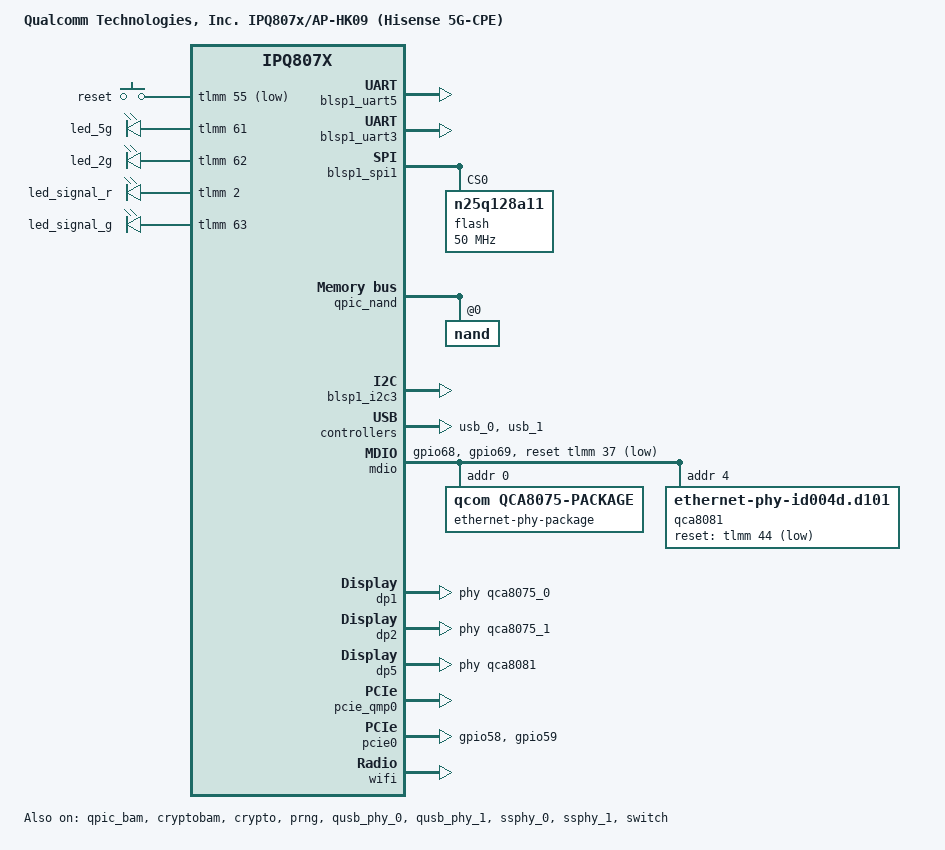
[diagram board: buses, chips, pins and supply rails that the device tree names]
// SPDX-License-Identifier: GPL-2.0-or-later OR MIT

/dts-v1/;

#include "ipq8074.dtsi"
#include "ipq8074-ess.dtsi"
#include "ipq8074-nss.dtsi"
#include "ipq8074-hk-cpu.dtsi"

#include <dt-bindings/gpio/gpio.h>
#include <dt-bindings/input/input.h>
#include <dt-bindings/leds/common.h>

/ {
	model = "Qualcomm Technologies, Inc. IPQ807x/AP-HK09 (Hisense 5G-CPE)";
	compatible = "hisense,5g-cpe", "qcom,ipq807x";

	aliases {
		serial0 = &blsp1_uart5;
		serial1 = &blsp1_uart3;
		led-boot = &led_signal_r;
		led-failsafe = &led_signal_r;
		led-running = &led_signal_g;
		led-upgrade = &led_signal_r;
		ethernet0 = &dp3;
		ethernet1 = &dp4;
		ethernet2 = &dp5;
	};

	chosen {
		stdout-path = "serial0:115200n8";
		bootargs-append = " root=/dev/ubiblock0_1";
	};

	keys {
		compatible = "gpio-keys";
		pinctrl-0 = <&button_pins>;
		pinctrl-names = "default";

		reset {
			label = "reset";
			linux,code = <KEY_RESTART>;
			gpios = <&tlmm 55 GPIO_ACTIVE_LOW>;
			debounce-interval = <60>;
		};
	};

	leds {
		compatible = "gpio-leds";
		pinctrl-0 = <&led_pins>;
		pinctrl-names = "default";

		led_5g: led-5g {
			gpios = <&tlmm 61 GPIO_ACTIVE_HIGH>;
			default-state = "off";
		};

		led_2g: led-2g {
			gpios = <&tlmm 62 GPIO_ACTIVE_HIGH>;
			default-state = "off";
		};

		led_signal_r: led-signal-r {
			gpios = <&tlmm 2 GPIO_ACTIVE_HIGH>;
			default-state = "off";
		};

		led_signal_g: led-signal-g {
			gpios = <&tlmm 63 GPIO_ACTIVE_HIGH>;
			default-state = "off";
		};
	};
};

/*&reserved_memory {
	wcnss@4b000000 {
		no-map;
		reg = <0x0 0x4b000000 0x0 0x5f00000>;
	};

	tzapp@4a400000 {
		no-map;
		reg = <0x0 0x4a400000 0x0 0x200000>;
	};

	q6_etr_dump@50f00000 {
		no-map;
		reg = <0x0 0x50f00000 0x0 0x100000>;
	};

	wifi_dump@51000000 {
		no-map;
		reg = <0x0 0x51000000 0x0 0x600000>;
	};

	wigig_dump@51200000 {
		no-map;
		reg = <0x0 0x51200000 0x0 0x400000>;
	};
};*/

&tlmm {
	button_pins: button-pins {
		reset_button {
			pins = "gpio55";
			function = "gpio";
			drive-strength = <8>;
			bias-pull-up;
		};
	};

	mdio_pinmux: mdio-pinmux {
		mux_0 {
			pins = "gpio68";
			function = "mdc";
			drive-strength = <8>;
			bias-pull-up;
		};
		mux_1 {
			pins = "gpio69";
			function = "mdio";
			drive-strength = <8>;
			bias-pull-up;
		};
	};

	led_pins: led-pins {
		led_5g {
			pins = "gpio61";
			function = "gpio";
			drive-strength = <8>;
			bias-pull-down;
		};
		led_2g {
			pins = "gpio62";
			function = "gpio";
			drive-strength = <8>;
			bias-pull-down;
		};
		led_signal_r {
			pins = "gpio2";
			function = "gpio";
			drive-strength = <8>;
			bias-pull-down;
		};
		led_signal_g {
			pins = "gpio63";
			function = "gpio";
			drive-strength = <8>;
			bias-pull-down;
		};
	};

	pcie_pins: pcie-pins {
		pcie0_rst {
			pins = "gpio58";
			function = "pcie0_rst";
			drive-strength = <8>;
			bias-pull-down;
		};
		pcie0_wake {
			pins = "gpio59";
			function = "pcie0_wake";
			drive-strength = <8>;
			bias-pull-down;
		};
	};
	
	usb_mux_pins {
		mux {
			pins = "gpio27";
			function = "gpio";
			drive-strength = <8>;
			bias-pull-down;
		};
	};
};

&blsp1_uart5 {
	status = "okay";
};

&blsp1_uart3 {
	status = "okay";
};

&blsp1_spi1 {
	status = "okay";
	pinctrl-0 = <&spi_0_pins>;
	pinctrl-names = "default";
	cs-select = <0>;

	flash@0 {
		#address-cells = <1>;
		#size-cells = <1>;
		reg = <0>;
		compatible = "n25q128a11", "jedec,spi-nor";
		spi-max-frequency = <50000000>;
	};
};

&qpic_bam {
	status = "okay";
};

&qpic_nand {
	status = "okay";
	pinctrl-0 = <&qpic_pins>;
	pinctrl-names = "default";

	nand@0 {
		reg = <0>;
		nand-ecc-strength = <8>;
		nand-ecc-step-size = <512>;
		nand-bus-width = <8>;
	};
};

&blsp1_i2c3 {
	status = "okay";
};

&cryptobam {
	status = "okay";
};

&crypto {
	status = "okay";
};

&prng {
	status = "okay";
};

&qusb_phy_0 {
	status = "okay";
};

&qusb_phy_1 {
	status = "okay";
};

&ssphy_0 {
	status = "okay";
};

&ssphy_1 {
	status = "okay";
};

&usb_0 {
	status = "okay";
};

&usb_1 {
	status = "okay";
};

&mdio {
	status = "okay";
	pinctrl-0 = <&mdio_pinmux>;
	pinctrl-names = "default";
	reset-gpio = <&tlmm 37 GPIO_ACTIVE_LOW>;

	ethernet-phy-package@0 {
		compatible = "qcom,qca8075-package";
		#address-cells = <1>;
		#size-cells = <0>;
		reg = <0>;

		qca8075_0: ethernet-phy@0 {
			compatible = "ethernet-phy-ieee802.3-c22";
			reg = <8>;
		};

		qca8075_1: ethernet-phy@1 {
			compatible = "ethernet-phy-ieee802.3-c22";
			reg = <9>;
		};
	};

	qca8081: ethernet-phy@4 {
		compatible = "ethernet-phy-id004d.d101";
		reg = <4>;
		reset-deassert-us = <10000>;
		reset-gpio = <&tlmm 44 GPIO_ACTIVE_LOW>;
	};
};

&switch {
	status = "okay";
	switch_lan_bmp = <(ESS_PORT1 | ESS_PORT2)>;
	switch_wan_bmp = <ESS_PORT5>; 
	switch_mac_mode = <MAC_MODE_PSGMII>; 
	switch_mac_mode1 = <MAC_MODE_SGMII_PLUS>;

	qcom,port_phyinfo {
		port@1 {
			port_id = <1>;
			phy_address = <8>;
		};
		port@2 {
			port_id = <2>;
			phy_address = <9>;
		};
		port@5 {
			port_id = <5>;
			phy_address = <4>;
			port_mac_sel = "QGMAC_PORT";
		};
	};
};

&edma {
	status = "okay";
};

&dp1 {
	status = "okay";
	phy-handle = <&qca8075_0>;
	label = "lan1";
};

&dp2 {
	status = "okay";
	phy-handle = <&qca8075_1>;
	label = "lan2";
};

&dp5 {
	status = "okay";
	phy-handle = <&qca8081>;
	label = "wan";
};

&pcie_qmp0 {
	status = "okay";
};

&pcie0 {
	status = "okay";
	pinctrl-0 = <&pcie_pins>;
	pinctrl-names = "default";
	perst-gpio = <&tlmm 58 GPIO_ACTIVE_LOW>;
};

&wifi {
	status = "okay";
	qcom,ath11k-fw-memory-mode = <1>;
	qcom,ath11k-calibration-variant = "Hisense_5G_CPE";
};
